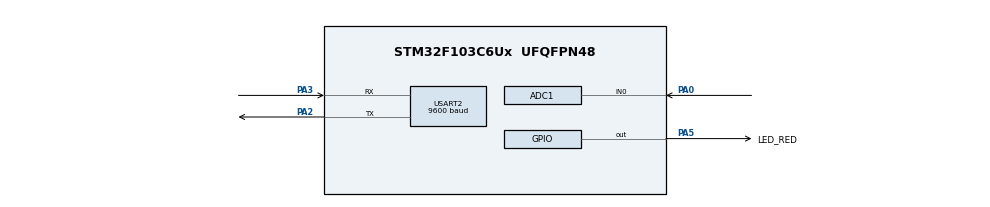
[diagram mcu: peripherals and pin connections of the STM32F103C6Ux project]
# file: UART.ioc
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ADC1.Channel-0\#ChannelRegularConversion=ADC_CHANNEL_0
ADC1.ContinuousConvMode=ENABLE
ADC1.NbrOfConversionFlag=1
ADC1.Rank-0\#ChannelRegularConversion=1
ADC1.SamplingTime-0\#ChannelRegularConversion=ADC_SAMPLETIME_1CYCLE_5
ADC1.master=1
Mcu.Family=STM32F1
Mcu.Name=STM32F103C6Ux
Mcu.Package=UFQFPN48
NVIC.ADC1_2_IRQn=true\:0\:0\:false\:false\:true\:true\:true
NVIC.PriorityGroup=NVIC_PRIORITYGROUP_4
NVIC.TIM2_IRQn=true\:0\:0\:false\:false\:true\:true\:true
NVIC.USART2_IRQn=true\:0\:0\:false\:false\:true\:true\:true
PA0-WKUP.Signal=ADCx_IN0
PA2.Mode=Asynchronous
PA2.Signal=USART2_TX
PA3.Mode=Asynchronous
PA3.Signal=USART2_RX
PA5.GPIO_Label=LED_RED
PA5.Signal=GPIO_Output
ProjectManager.HeapSize=0x200
ProjectManager.StackSize=0x400
ProjectManager.TargetToolchain=STM32CubeIDE
RCC.APB1Freq_Value=8000000
RCC.APB2Freq_Value=8000000
SH.ADCx_IN0.0=ADC1_IN0,IN0
TIM2.Period=9
TIM2.Prescaler=7999
USART2.BaudRate=9600
USART2.VirtualMode=VM_ASYNC
VP_SYS_VS_ND.Mode=No_Debug
VP_TIM2_VS_ClockSourceINT.Mode=Internal
board=custom

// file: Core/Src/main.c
/* USER CODE BEGIN Header */
/**
  ******************************************************************************
  * @file           : main.c
  * @brief          : Main program body
  ******************************************************************************
  * @attention
  *
  * <h2><center>&copy; Copyright (c) 2022 STMicroelectronics.
  * All rights reserved.</center></h2>
  *
  * This software component is licensed by ST under BSD 3-Clause license,
  * the "License"; You may not use this file except in compliance with the
  * License. You may obtain a copy of the License at:
  *                        opensource.org/licenses/BSD-3-Clause
  *
  ******************************************************************************
  */
/* USER CODE END Header */
#include "main.h"

/* USER CODE BEGIN Includes */
#include <stdio.h>
#include <string.h>
/* USER CODE END Includes */

ADC_HandleTypeDef hadc1;

TIM_HandleTypeDef htim2;

UART_HandleTypeDef huart2;

void SystemClock_Config(void);
static void MX_GPIO_Init(void);
static void MX_ADC1_Init(void);
static void MX_USART2_UART_Init(void);
static void MX_TIM2_Init(void);

/* USER CODE BEGIN 0 */
int timer1Counter = 1;
int timer1Flag = 0;
void setTimer1(int duration){
	timer1Counter = duration;
	timer1Flag = 0;
}
void timerRun(){
	if(timer1Counter > 0){
		timer1Counter--;
		if(timer1Counter <= 0){
			timer1Flag = 1;
		}
	}
}
#define MAX_BUFFER_SIZE 30
#define NONE_COMMAND 0
#define OK_COMMAND 1
#define RST_COMMAND 2
#define char_exc_mark 33
#define char_R 82
#define char_S 83
#define char_T 84
#define char_O 79
#define char_K 75
#define char_pound 35

uint8_t temp = 0;
uint8_t buffer[MAX_BUFFER_SIZE];
uint8_t index_buffer = 0;
uint8_t buffer_flag = 0;
char command_parser_state = '1';
int command_flag = NONE_COMMAND;
char command_data[5];
//char Sensory_Data[20];
uint32_t ADC_value;
char str_transmit[30];
//char RST_Code[] = "!RST#";
//char Success_Response[] = "!OK#";
void uart_communication_fsm(){
	switch(command_flag){
	case NONE_COMMAND:
		break;
	case RST_COMMAND:
		if(timer1Flag){
		  HAL_ADC_Start(&hadc1);
		  HAL_ADC_PollForConversion(&hadc1, 300);
		  ADC_value = HAL_ADC_GetValue(&hadc1);
		  HAL_UART_Transmit(&huart2, (void *) str_transmit, sprintf(str_transmit, "!ADC=%d#\r\n", (int)ADC_value), 1000 );
		  setTimer1(300);
		}
		break;
	case OK_COMMAND:
		HAL_UART_Transmit(&huart2, (void *) str_transmit, sprintf(str_transmit, "ok_COMMAND\r\n"), 1000 );
		command_flag = NONE_COMMAND;
		break;
	default:
		break;
	}
}
void command_parser_fsm (uint8_t index_buffer){
	if(index_buffer == 0){
		index_buffer = 30;
	}
	switch(command_parser_state){
	case '!':
		if(buffer[index_buffer-1] == char_R){
			HAL_UART_Transmit(&huart2, (void *) str_transmit, sprintf(str_transmit, "MOVE: R\r\n"), 1000 );
			command_parser_state = 'R';
		}
		else if(buffer[index_buffer-1] == char_O){
			HAL_UART_Transmit(&huart2, (void *) str_transmit, sprintf(str_transmit, "MOVE: O\r\n"), 1000 );
			command_parser_state = 'O';
		}
		else{
			HAL_UART_Transmit(&huart2, (void *) str_transmit, sprintf(str_transmit, "MOVE: Default\r\n"), 1000 );
			command_parser_state = '1';
		}
		break;
	case 'R':
		if(buffer[index_buffer-1] == char_S){
			HAL_UART_Transmit(&huart2, (void *) str_transmit, sprintf(str_transmit, "MOVE: S\r\n"), 1000 );
			command_parser_state = 'S';
		}
		else{
			HAL_UART_Transmit(&huart2, (void *) str_transmit, sprintf(str_transmit, "MOVE: Default\r\n"), 1000 );
			command_parser_state = '1';
		}
		break;
	case 'S':
		if(buffer[index_buffer-1] == char_T){
			HAL_UART_Transmit(&huart2, (void *) str_transmit, sprintf(str_transmit, "MOVE: T\r\n"), 1000 );
			command_parser_state = 'T';
		}
		else{
			HAL_UART_Transmit(&huart2, (void *) str_transmit, sprintf(str_transmit, "MOVE: Default\r\n"), 1000 );
			command_parser_state = '1';
		}
		break;
	case 'T':
		if(buffer[index_buffer-1] == char_pound){
			HAL_UART_Transmit(&huart2, (void *) str_transmit, sprintf(str_transmit, "MOVE: #\r\n"), 1000 );
			command_flag = RST_COMMAND;
			sprintf(command_data, "RST");
			command_parser_state = '1';
			setTimer1(1);
		}
		else{
			HAL_UART_Transmit(&huart2, (void *) str_transmit, sprintf(str_transmit, "MOVE: Default\r\n"), 1000 );
			command_parser_state = '1';
		}
		break;
	case 'O':
		if(buffer[index_buffer-1] == char_K){
			HAL_UART_Transmit(&huart2, (void *) str_transmit, sprintf(str_transmit, "MOVE: K\r\n"), 1000 );
			command_parser_state = 'K';
		}
		else{
			HAL_UART_Transmit(&huart2, (void *) str_transmit, sprintf(str_transmit, "MOVE: Default\r\n"), 1000 );
			command_parser_state = '1';
		}
		break;
	case 'K':
		if(buffer[index_buffer-1] == char_pound){
			HAL_UART_Transmit(&huart2, (void *) str_transmit, sprintf(str_transmit, "MOVE: #\r\n"), 1000 );
			command_flag = OK_COMMAND;
			sprintf(command_data, "OK");
			command_parser_state = '1';
		}
		else{
			HAL_UART_Transmit(&huart2, (void *) str_transmit, sprintf(str_transmit, "MOVE: Default\r\n"), 1000 );
			command_parser_state = '1';
		}
		break;
	default:
		if(buffer[index_buffer-1] == char_exc_mark){
			HAL_UART_Transmit(&huart2, (void *) str_transmit, sprintf(str_transmit, "MOVE: !\r\n"), 1000 );
			command_parser_state = '!';
		}
		else{
			HAL_UART_Transmit(&huart2, (void *) str_transmit, sprintf(str_transmit, "In: Default\r\n"), 1000 );
		}
		break;
	}
}
void HAL_UART_RxCpltCallback ( UART_HandleTypeDef * huart ) {
	if( huart->Instance == USART2){
		buffer[index_buffer++] = temp;

		if(index_buffer == 30) index_buffer = 0;
		buffer_flag = 1;
		HAL_UART_Receive_IT(&huart2 , &temp , 1) ;
	}
}
/* USER CODE END 0 */

int main(void)
{

  /* MCU Configuration--------------------------------------------------------*/

  /* Reset of all peripherals, Initializes the Flash interface and the Systick. */
  HAL_Init();

  /* Configure the system clock */
  SystemClock_Config();

  /* Initialize all configured peripherals */
  MX_GPIO_Init();
  MX_ADC1_Init();
  MX_USART2_UART_Init();
  MX_TIM2_Init();
  /* USER CODE BEGIN 2 */
  HAL_TIM_Base_Start_IT(&htim2);
  HAL_UART_Receive_IT (&huart2 , &temp , 1) ;
  /* USER CODE END 2 */

  /* Infinite loop */
  /* USER CODE BEGIN WHILE */

  while (1)
  {
	  HAL_GPIO_TogglePin(LED_RED_GPIO_Port, LED_RED_Pin);
	  if(buffer_flag == 1){
		  command_parser_fsm(index_buffer);
		  buffer_flag = 0;
	  }
	  uart_communication_fsm();

	  HAL_Delay(500);
    /* USER CODE END WHILE */

  }
}

void SystemClock_Config(void)
{
  RCC_OscInitTypeDef RCC_OscInitStruct = {0};
  RCC_ClkInitTypeDef RCC_ClkInitStruct = {0};
  RCC_PeriphCLKInitTypeDef PeriphClkInit = {0};

  /** Initializes the RCC Oscillators according to the specified parameters
  * in the RCC_OscInitTypeDef structure.
  */
  RCC_OscInitStruct.OscillatorType = RCC_OSCILLATORTYPE_HSI;
  RCC_OscInitStruct.HSIState = RCC_HSI_ON;
  RCC_OscInitStruct.HSICalibrationValue = RCC_HSICALIBRATION_DEFAULT;
  RCC_OscInitStruct.PLL.PLLState = RCC_PLL_NONE;
  if (HAL_RCC_OscConfig(&RCC_OscInitStruct) != HAL_OK)
  {
    Error_Handler();
  }
  /** Initializes the CPU, AHB and APB buses clocks
  */
  RCC_ClkInitStruct.ClockType = RCC_CLOCKTYPE_HCLK|RCC_CLOCKTYPE_SYSCLK
                              |RCC_CLOCKTYPE_PCLK1|RCC_CLOCKTYPE_PCLK2;
  RCC_ClkInitStruct.SYSCLKSource = RCC_SYSCLKSOURCE_HSI;
  RCC_ClkInitStruct.AHBCLKDivider = RCC_SYSCLK_DIV1;
  RCC_ClkInitStruct.APB1CLKDivider = RCC_HCLK_DIV1;
  RCC_ClkInitStruct.APB2CLKDivider = RCC_HCLK_DIV1;

  if (HAL_RCC_ClockConfig(&RCC_ClkInitStruct, FLASH_LATENCY_0) != HAL_OK)
  {
    Error_Handler();
  }
  PeriphClkInit.PeriphClockSelection = RCC_PERIPHCLK_ADC;
  PeriphClkInit.AdcClockSelection = RCC_ADCPCLK2_DIV2;
  if (HAL_RCCEx_PeriphCLKConfig(&PeriphClkInit) != HAL_OK)
  {
    Error_Handler();
  }
}

static void MX_ADC1_Init(void)
{

  ADC_ChannelConfTypeDef sConfig = {0};

  /** Common config
  */
  hadc1.Instance = ADC1;
  hadc1.Init.ScanConvMode = ADC_SCAN_DISABLE;
  hadc1.Init.ContinuousConvMode = ENABLE;
  hadc1.Init.DiscontinuousConvMode = DISABLE;
  hadc1.Init.ExternalTrigConv = ADC_SOFTWARE_START;
  hadc1.Init.DataAlign = ADC_DATAALIGN_RIGHT;
  hadc1.Init.NbrOfConversion = 1;
  if (HAL_ADC_Init(&hadc1) != HAL_OK)
  {
    Error_Handler();
  }
  /** Configure Regular Channel
  */
  sConfig.Channel = ADC_CHANNEL_0;
  sConfig.Rank = ADC_REGULAR_RANK_1;
  sConfig.SamplingTime = ADC_SAMPLETIME_1CYCLE_5;
  if (HAL_ADC_ConfigChannel(&hadc1, &sConfig) != HAL_OK)
  {
    Error_Handler();
  }

}

static void MX_TIM2_Init(void)
{

  TIM_ClockConfigTypeDef sClockSourceConfig = {0};
  TIM_MasterConfigTypeDef sMasterConfig = {0};

  htim2.Instance = TIM2;
  htim2.Init.Prescaler = 7999;
  htim2.Init.CounterMode = TIM_COUNTERMODE_UP;
  htim2.Init.Period = 9;
  htim2.Init.ClockDivision = TIM_CLOCKDIVISION_DIV1;
  htim2.Init.AutoReloadPreload = TIM_AUTORELOAD_PRELOAD_DISABLE;
  if (HAL_TIM_Base_Init(&htim2) != HAL_OK)
  {
    Error_Handler();
  }
  sClockSourceConfig.ClockSource = TIM_CLOCKSOURCE_INTERNAL;
  if (HAL_TIM_ConfigClockSource(&htim2, &sClockSourceConfig) != HAL_OK)
  {
    Error_Handler();
  }
  sMasterConfig.MasterOutputTrigger = TIM_TRGO_RESET;
  sMasterConfig.MasterSlaveMode = TIM_MASTERSLAVEMODE_DISABLE;
  if (HAL_TIMEx_MasterConfigSynchronization(&htim2, &sMasterConfig) != HAL_OK)
  {
    Error_Handler();
  }

}

static void MX_USART2_UART_Init(void)
{

  huart2.Instance = USART2;
  huart2.Init.BaudRate = 9600;
  huart2.Init.WordLength = UART_WORDLENGTH_8B;
  huart2.Init.StopBits = UART_STOPBITS_1;
  huart2.Init.Parity = UART_PARITY_NONE;
  huart2.Init.Mode = UART_MODE_TX_RX;
  huart2.Init.HwFlowCtl = UART_HWCONTROL_NONE;
  huart2.Init.OverSampling = UART_OVERSAMPLING_16;
  if (HAL_UART_Init(&huart2) != HAL_OK)
  {
    Error_Handler();
  }

}

static void MX_GPIO_Init(void)
{
  GPIO_InitTypeDef GPIO_InitStruct = {0};

  /* GPIO Ports Clock Enable */
  __HAL_RCC_GPIOA_CLK_ENABLE();

  /*Configure GPIO pin Output Level */
  HAL_GPIO_WritePin(LED_RED_GPIO_Port, LED_RED_Pin, GPIO_PIN_RESET);

  /*Configure GPIO pin : LED_RED_Pin */
  GPIO_InitStruct.Pin = LED_RED_Pin;
  GPIO_InitStruct.Mode = GPIO_MODE_OUTPUT_PP;
  GPIO_InitStruct.Pull = GPIO_NOPULL;
  GPIO_InitStruct.Speed = GPIO_SPEED_FREQ_LOW;
  HAL_GPIO_Init(LED_RED_GPIO_Port, &GPIO_InitStruct);

}

/* USER CODE BEGIN 4 */
void HAL_TIM_PeriodElapsedCallback ( TIM_HandleTypeDef * htim ){
	timerRun();
}
/* USER CODE END 4 */

void Error_Handler(void)
{
  __disable_irq();
  while (1)
  {
  }
}

/************************ (C) COPYRIGHT STMicroelectronics *****END OF FILE****/
